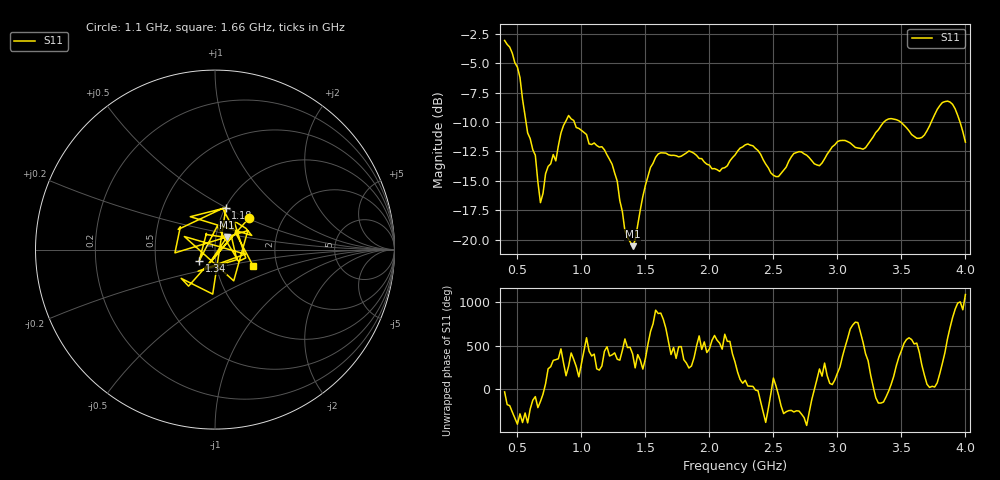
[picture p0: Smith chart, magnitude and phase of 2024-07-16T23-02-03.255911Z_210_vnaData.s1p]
!Created with skrf (http://scikit-rf.org).
# Hz S RI R 50.0
!freq ReS11 ImS11
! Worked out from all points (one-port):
!   181 points, 400 MHz to 4 GHz, reference 50 ohm
!   lowest |S11| = -20.5 dB at 1.4 GHz (marker M1), VSWR 1.21, Z = 56.4 + j7.69 ohm
!   |S11| at or under -10 dB: 566.9 MHz to 874.6 MHz (307.8 MHz wide, 42.7 % of centre); 944.3 MHz to 3.363 GHz (2.419 GHz wide, 112 % of centre); 3.493 GHz to 3.734 GHz (240.1 MHz wide, 6.64 % of centre) (the widest 3 of 4)
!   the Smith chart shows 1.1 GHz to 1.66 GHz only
!   S11 on the Smith chart (normalised r, x): 1.1 GHz: 1.36, +0.51; 1.18 GHz: 1.01, +0.50; 1.34 GHz: 0.83, -0.11; 1.66 GHz: 1.51, -0.30
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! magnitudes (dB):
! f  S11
! 400 MHz  -3.1
! 520 MHz  -6.2
! 580 MHz  -10.9
! 640 MHz  -12.8
! 680 MHz  -16.8
! 860 MHz  -10.3
! 900 MHz  -9.4
! 1.1 GHz  -11.8
! 1.18 GHz  -12.4
! 1.3 GHz  -16.7
! 1.34 GHz  -19.3
! 1.4 GHz  -20.5
! 1.54 GHz  -13.9
! 1.66 GHz  -12.6
! 1.76 GHz  -13.0
! 2.08 GHz  -14.2
! 2.2 GHz  -12.8
! 2.34 GHz  -12.0
! 2.52 GHz  -14.6
! 2.66 GHz  -12.7
! 2.86 GHz  -13.7
! 3.1 GHz  -11.8
! 3.22 GHz  -12.2
! 3.4 GHz  -9.7
! 3.56 GHz  -10.8
! 3.66 GHz  -11.3
! 3.86 GHz  -8.2
! 4 GHz  -11.7
